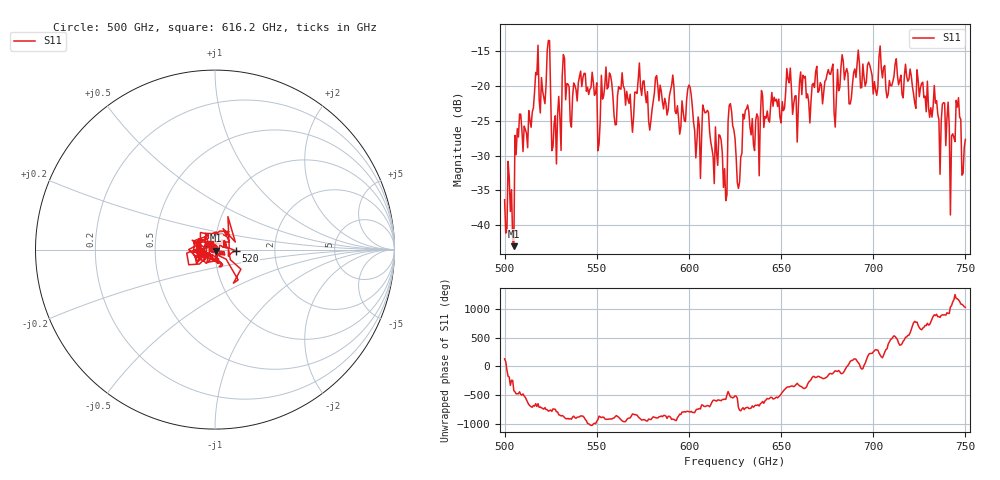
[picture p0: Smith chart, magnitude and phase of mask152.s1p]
!Created with skrf (http://scikit-rf.org).
# GHz S MA R 50.0
!freq magS11 angS11
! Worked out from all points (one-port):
!   401 points, 500 GHz to 750 GHz, reference 50 ohm
!   lowest |S11| = -43.0 dB at 505 GHz (marker M1), VSWR 1.01, Z = 50.3 - j0.632 ohm
!   |S11| at or under -10 dB: start of sweep to end of sweep
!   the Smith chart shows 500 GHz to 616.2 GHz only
!   S11 on the Smith chart (normalised r, x): 500 GHz: 0.98, +0.02; 520 GHz: 1.26, -0.02; 616.2 GHz: 0.94, +0.06
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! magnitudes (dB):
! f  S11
! 500 GHz  -36.4
! 505 GHz  -43.0
! 508.1 GHz  -24.0
! 520 GHz  -18.8
! 523.8 GHz  -13.4
! 526.9 GHz  -25.4
! 531.2 GHz  -18.6
! 542.5 GHz  -18.8
! 550.6 GHz  -29.3
! 562.5 GHz  -20.4
! 590.6 GHz  -19.9
! 593.8 GHz  -22.8
! 600 GHz  -19.9
! 605 GHz  -24.4
! 608.8 GHz  -23.9
! 616.2 GHz  -27.0
! 619.4 GHz  -31.9
! 622.5 GHz  -22.5
! 625 GHz  -27.5
! 627.5 GHz  -33.8
! 630.6 GHz  -23.5
! 636.9 GHz  -24.0
! 656.2 GHz  -24.1
! 687.5 GHz  -22.6
! 718.8 GHz  -19.3
! 743.1 GHz  -26.9
! 746.2 GHz  -21.7
! 750 GHz  -27.7
